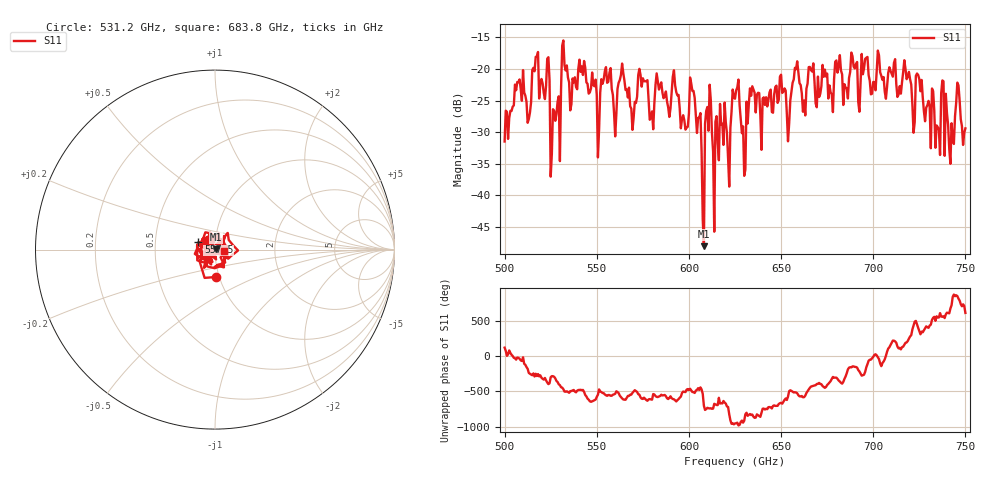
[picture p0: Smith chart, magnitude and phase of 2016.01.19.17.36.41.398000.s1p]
!Created with skrf (http://scikit-rf.org).
# GHz S RI R 50.0
!freq ReS11 ImS11
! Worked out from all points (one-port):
!   401 points, 500 GHz to 750 GHz, reference 50 ohm
!   lowest |S11| = -48.0 dB at 608.1 GHz (marker M1), VSWR 1.01, Z = 50.4 + j0.103 ohm
!   |S11| at or under -10 dB: start of sweep to end of sweep
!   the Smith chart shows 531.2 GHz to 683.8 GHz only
!   S11 on the Smith chart (normalised r, x): 531.2 GHz: 0.96, -0.30; 557.5 GHz: 0.83, +0.07; 683.8 GHz: 1.11, -0.02
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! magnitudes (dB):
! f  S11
! 500 GHz  -31.5
! 506.9 GHz  -22.1
! 513.1 GHz  -27.9
! 516.9 GHz  -18.1
! 523.1 GHz  -18.4
! 526.2 GHz  -26.4
! 531.2 GHz  -16.3
! 557.5 GHz  -19.9
! 562.5 GHz  -21.8
! 593.8 GHz  -24.2
! 598.8 GHz  -29.3
! 601.9 GHz  -23.5
! 608.1 GHz  -48.0
! 610.6 GHz  -29.8
! 615 GHz  -27.5
! 621.9 GHz  -38.6
! 625 GHz  -24.7
! 629.4 GHz  -29.1
! 634.4 GHz  -22.7
! 656.2 GHz  -22.2
! 683.8 GHz  -25.7
! 687.5 GHz  -20.5
! 718.8 GHz  -21.2
! 735 GHz  -29.2
! 738.1 GHz  -22.0
! 742.5 GHz  -28.6
! 745.6 GHz  -22.2
! 750 GHz  -29.4
